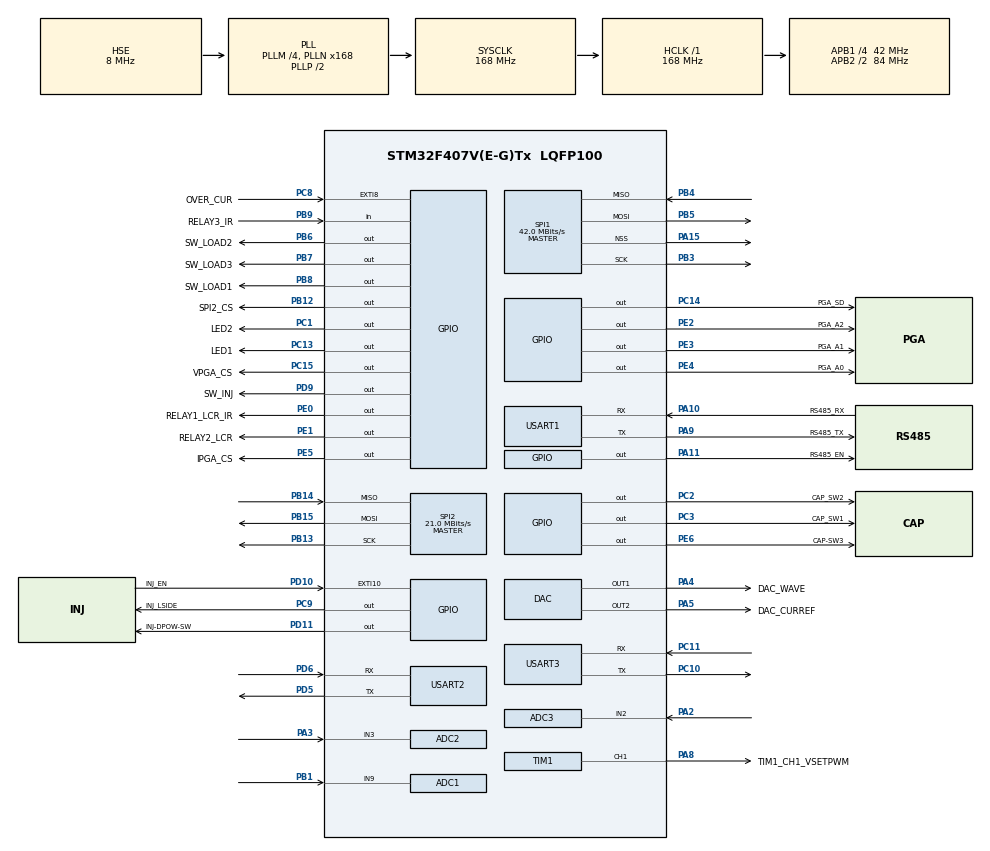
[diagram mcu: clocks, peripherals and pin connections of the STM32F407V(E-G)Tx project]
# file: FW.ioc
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ADC1.Channel-1\#ChannelRegularConversion=ADC_CHANNEL_9
ADC1.ClockPrescaler=ADC_CLOCK_SYNC_PCLK_DIV6
ADC1.NbrOfConversionFlag=1
ADC1.Rank-1\#ChannelRegularConversion=1
ADC1.SamplingTime-1\#ChannelRegularConversion=ADC_SAMPLETIME_3CYCLES
ADC1.master=1
ADC2.Channel-0\#ChannelRegularConversion=ADC_CHANNEL_3
ADC2.ClockPrescaler=ADC_CLOCK_SYNC_PCLK_DIV6
ADC2.ExternalTrigConv=ADC_EXTERNALTRIGCONV_T2_TRGO
ADC2.NbrOfConversionFlag=1
ADC2.Rank-0\#ChannelRegularConversion=1
ADC2.SamplingTime-0\#ChannelRegularConversion=ADC_SAMPLETIME_15CYCLES
ADC3.Channel-1\#ChannelRegularConversion=ADC_CHANNEL_2
ADC3.ClockPrescaler=ADC_CLOCK_SYNC_PCLK_DIV6
ADC3.ExternalTrigConv=ADC_EXTERNALTRIGCONV_T2_TRGO
ADC3.NbrOfConversionFlag=1
ADC3.Rank-1\#ChannelRegularConversion=1
ADC3.SamplingTime-1\#ChannelRegularConversion=ADC_SAMPLETIME_3CYCLES
DAC.DAC_OutputBuffer2=DAC_OUTPUTBUFFER_DISABLE
DAC.DAC_Trigger=DAC_TRIGGER_T7_TRGO
DAC.DAC_Trigger2=DAC_TRIGGER_NONE
Dma.ADC2.2.Direction=DMA_PERIPH_TO_MEMORY
Dma.ADC2.2.FIFOMode=DMA_FIFOMODE_DISABLE
Dma.ADC2.2.Instance=DMA2_Stream2
Dma.ADC2.2.MemDataAlignment=DMA_MDATAALIGN_HALFWORD
Dma.ADC2.2.MemInc=DMA_MINC_ENABLE
Dma.ADC2.2.Mode=DMA_NORMAL
Dma.ADC2.2.PeriphDataAlignment=DMA_PDATAALIGN_HALFWORD
Dma.ADC2.2.PeriphInc=DMA_PINC_DISABLE
Dma.ADC2.2.Priority=DMA_PRIORITY_HIGH
Dma.ADC3.1.Direction=DMA_PERIPH_TO_MEMORY
Dma.ADC3.1.FIFOMode=DMA_FIFOMODE_DISABLE
Dma.ADC3.1.Instance=DMA2_Stream0
Dma.ADC3.1.MemDataAlignment=DMA_MDATAALIGN_HALFWORD
Dma.ADC3.1.MemInc=DMA_MINC_ENABLE
Dma.ADC3.1.Mode=DMA_NORMAL
Dma.ADC3.1.PeriphDataAlignment=DMA_PDATAALIGN_HALFWORD
Dma.ADC3.1.PeriphInc=DMA_PINC_DISABLE
Dma.ADC3.1.Priority=DMA_PRIORITY_HIGH
Dma.DAC1.0.Direction=DMA_MEMORY_TO_PERIPH
Dma.DAC1.0.FIFOMode=DMA_FIFOMODE_DISABLE
Dma.DAC1.0.Instance=DMA1_Stream5
Dma.DAC1.0.MemDataAlignment=DMA_MDATAALIGN_WORD
Dma.DAC1.0.MemInc=DMA_MINC_ENABLE
Dma.DAC1.0.Mode=DMA_CIRCULAR
Dma.DAC1.0.PeriphDataAlignment=DMA_PDATAALIGN_WORD
Dma.DAC1.0.PeriphInc=DMA_PINC_DISABLE
Dma.DAC1.0.Priority=DMA_PRIORITY_LOW
Dma.Request0=DAC1
Dma.Request1=ADC3
Dma.Request2=ADC2
Dma.Request3=USART1_RX
Dma.Request4=USART1_TX
Dma.USART1_RX.3.Direction=DMA_PERIPH_TO_MEMORY
Dma.USART1_RX.3.FIFOMode=DMA_FIFOMODE_DISABLE
Dma.USART1_RX.3.Instance=DMA2_Stream5
Dma.USART1_RX.3.MemDataAlignment=DMA_MDATAALIGN_BYTE
Dma.USART1_RX.3.MemInc=DMA_MINC_ENABLE
Dma.USART1_RX.3.Mode=DMA_NORMAL
Dma.USART1_RX.3.PeriphDataAlignment=DMA_PDATAALIGN_BYTE
Dma.USART1_RX.3.PeriphInc=DMA_PINC_DISABLE
Dma.USART1_RX.3.Priority=DMA_PRIORITY_LOW
Dma.USART1_TX.4.Direction=DMA_MEMORY_TO_PERIPH
Dma.USART1_TX.4.FIFOMode=DMA_FIFOMODE_DISABLE
Dma.USART1_TX.4.Instance=DMA2_Stream7
Dma.USART1_TX.4.MemDataAlignment=DMA_MDATAALIGN_BYTE
Dma.USART1_TX.4.MemInc=DMA_MINC_ENABLE
Dma.USART1_TX.4.Mode=DMA_NORMAL
Dma.USART1_TX.4.PeriphDataAlignment=DMA_PDATAALIGN_BYTE
Dma.USART1_TX.4.PeriphInc=DMA_PINC_DISABLE
Dma.USART1_TX.4.Priority=DMA_PRIORITY_LOW
FREERTOS.Tasks01=defaultTask,24,128,StartDefaultTask,Default,NULL,Dynamic,NULL,NULL
FREERTOS.configENABLE_FPU=1
Mcu.Family=STM32F4
Mcu.Name=STM32F407V(E-G)Tx
Mcu.Package=LQFP100
NVIC.DMA1_Stream5_IRQn=true\:5\:0\:false\:false\:true\:true\:false\:true\:true
NVIC.DMA2_Stream0_IRQn=true\:5\:0\:false\:false\:true\:true\:false\:true\:true
NVIC.DMA2_Stream2_IRQn=true\:5\:0\:false\:false\:true\:true\:false\:true\:true
NVIC.DMA2_Stream5_IRQn=true\:5\:0\:false\:false\:true\:true\:false\:true\:true
NVIC.DMA2_Stream7_IRQn=true\:5\:0\:false\:false\:true\:true\:false\:true\:true
NVIC.PriorityGroup=NVIC_PRIORITYGROUP_4
NVIC.TIM4_IRQn=true\:15\:0\:false\:false\:true\:false\:false\:true\:true
NVIC.TIM8_TRG_COM_TIM14_IRQn=true\:15\:0\:true\:false\:true\:true\:true\:true\:true
NVIC.TimeBase=TIM4_IRQn
NVIC.TimeBaseIP=TIM4
NVIC.USART1_IRQn=true\:5\:0\:false\:false\:true\:true\:true\:true\:true
PA10.GPIO_Label=RS485_RX
PA10.Mode=Asynchronous
PA10.Signal=USART1_RX
PA11.GPIO_Label=RS485_EN
PA11.Signal=GPIO_Output
PA13.Mode=Serial_Wire
PA13.Signal=SYS_JTMS-SWDIO
PA14.Mode=Serial_Wire
PA14.Signal=SYS_JTCK-SWCLK
PA15.Mode=NSS_Signal_Hard_Output
PA15.Signal=SPI1_NSS
PA2.Signal=ADCx_IN2
PA3.Signal=ADCx_IN3
PA4.GPIO_Label=DAC_WAVE
PA4.Signal=COMP_DAC1_group
PA5.GPIO_Label=DAC_CURREF
PA5.Signal=COMP_DAC2_group
PA7.GPIO_Label=ADC2_IN7_LCUR2
PA7.Signal=ADCx_IN7
PA8.GPIO_Label=TIM1_CH1_VSETPWM
PA8.Signal=S_TIM1_CH1
PA9.GPIO_Label=RS485_TX
PA9.Mode=Asynchronous
PA9.Signal=USART1_TX
PB0.GPIO_Label=ADC2_IN8_INJPV
PB0.Signal=ADCx_IN8
PB1.Signal=ADCx_IN9
PB12.GPIO_Label=SPI2_CS
PB12.Signal=GPIO_Output
PB13.Mode=Full_Duplex_Master
PB13.Signal=SPI2_SCK
PB14.Mode=Full_Duplex_Master
PB14.Signal=SPI2_MISO
PB15.Mode=Full_Duplex_Master
PB15.Signal=SPI2_MOSI
PB3.Mode=Full_Duplex_Master
PB3.Signal=SPI1_SCK
PB4.Mode=Full_Duplex_Master
PB4.Signal=SPI1_MISO
PB5.Mode=Full_Duplex_Master
PB5.Signal=SPI1_MOSI
PB6.GPIO_Label=SW_LOAD2
PB6.Signal=GPIO_Output
PB7.GPIO_Label=SW_LOAD3
PB7.Signal=GPIO_Output
PB8.GPIO_Label=SW_LOAD1
PB8.Signal=GPIO_Output
PB9.GPIO_Label=RELAY3_IR
PB9.Signal=GPIO_Input
PC1.GPIO_Label=LED2
PC1.Signal=GPIO_Output
PC10.Mode=Asynchronous
PC10.Signal=USART3_TX
PC11.Mode=Asynchronous
PC11.Signal=USART3_RX
PC13-ANTI_TAMP.GPIO_Label=LED1
PC13-ANTI_TAMP.Signal=GPIO_Output
PC14-OSC32_IN.GPIO_Label=PGA_SD
PC14-OSC32_IN.Signal=GPIO_Output
PC15-OSC32_OUT.GPIO_Label=VPGA_CS
PC15-OSC32_OUT.Signal=GPIO_Output
PC2.GPIO_Label=CAP_SW2
PC2.Signal=GPIO_Output
PC3.GPIO_Label=CAP_SW1
PC3.Signal=GPIO_Output
PC4.GPIO_Label=ADC2_IN14_LCUR1
PC4.Signal=ADCx_IN14
PC5.GPIO_Label=ADC2_IN15_HCUR
PC5.Signal=ADCx_IN15
PC6.GPIO_Label=TIM8_CH1_SET
PC6.Signal=S_TIM8_CH1
PC7.GPIO_Label=TIM8_CH2_HOLD
PC7.Signal=S_TIM8_CH2
PC8.GPIO_Label=OVER_CUR
PC8.Signal=GPXTI8
PC9.GPIO_Label=INJ_LSIDE
PC9.Signal=GPIO_Output
PD10.GPIO_Label=INJ_EN
PD10.Signal=GPXTI10
PD11.GPIO_Label=INJ-DPOW-SW
PD11.Signal=GPIO_Output
PD5.Mode=Asynchronous
PD5.Signal=USART2_TX
PD6.Mode=Asynchronous
PD6.Signal=USART2_RX
PD9.GPIO_Label=SW_INJ
PD9.Signal=GPIO_Output
PE0.GPIO_Label=RELAY1_LCR_IR
PE0.Signal=GPIO_Output
PE1.GPIO_Label=RELAY2_LCR
PE1.Signal=GPIO_Output
PE2.GPIO_Label=PGA_A2
PE2.Signal=GPIO_Output
PE3.GPIO_Label=PGA_A1
PE3.Signal=GPIO_Output
PE4.GPIO_Label=PGA_A0
PE4.Signal=GPIO_Output
PE5.GPIO_Label=IPGA_CS
PE5.Signal=GPIO_Output
PE6.GPIO_Label=CAP-SW3
PE6.Signal=GPIO_Output
PH0-OSC_IN.Mode=HSE-External-Oscillator
PH0-OSC_IN.Signal=RCC_OSC_IN
PH1-OSC_OUT.Mode=HSE-External-Oscillator
PH1-OSC_OUT.Signal=RCC_OSC_OUT
ProjectManager.HeapSize=0x200
ProjectManager.StackSize=0x400
ProjectManager.TargetToolchain=MDK-ARM V5.32
RCC.48MHZClocksFreq_Value=84000000
RCC.AHBFreq_Value=168000000
RCC.APB1CLKDivider=RCC_HCLK_DIV4
RCC.APB1Freq_Value=42000000
RCC.APB1TimFreq_Value=84000000
RCC.APB2CLKDivider=RCC_HCLK_DIV2
RCC.APB2Freq_Value=84000000
RCC.APB2TimFreq_Value=168000000
RCC.CortexFreq_Value=168000000
RCC.HCLKFreq_Value=168000000
RCC.HSE_VALUE=8000000
RCC.HSI_VALUE=16000000
RCC.LSE_VALUE=32768
RCC.PLLM=4
RCC.PLLN=168
RCC.PLLSourceVirtual=RCC_PLLSOURCE_HSE
RCC.SYSCLKFreq_VALUE=168000000
RCC.SYSCLKSource=RCC_SYSCLKSOURCE_PLLCLK
RCC.VCOOutputFreq_Value=336000000
SH.ADCx_IN14.0=ADC2_IN14
SH.ADCx_IN15.0=ADC2_IN15
SH.ADCx_IN2.0=ADC1_IN2
SH.ADCx_IN2.1=ADC3_IN2,IN2
SH.ADCx_IN3.0=ADC3_IN3
SH.ADCx_IN3.1=ADC2_IN3,IN3
SH.ADCx_IN7.0=ADC2_IN7
SH.ADCx_IN8.0=ADC2_IN8
SH.ADCx_IN9.0=ADC2_IN9
SH.ADCx_IN9.1=ADC1_IN9,IN9
SH.COMP_DAC1_group.0=DAC_OUT1,DAC_OUT1
SH.COMP_DAC2_group.0=DAC_OUT2,DAC_OUT2
SH.S_TIM1_CH1.0=TIM1_CH1,PWM Generation1 CH1
SH.S_TIM8_CH1.0=TIM8_CH1
SH.S_TIM8_CH2.0=TIM8_CH2
SPI1.BaudRatePrescaler=SPI_BAUDRATEPRESCALER_2
SPI1.CalculateBaudRate=42.0 MBits/s
SPI1.Direction=SPI_DIRECTION_2LINES
SPI1.Mode=SPI_MODE_MASTER
SPI1.VirtualNSS=VM_NSSHARD
SPI1.VirtualType=VM_MASTER
SPI2.BaudRatePrescaler=SPI_BAUDRATEPRESCALER_2
SPI2.CalculateBaudRate=21.0 MBits/s
SPI2.Direction=SPI_DIRECTION_2LINES
SPI2.Mode=SPI_MODE_MASTER
SPI2.VirtualType=VM_MASTER
STMicroelectronics.X-CUBE-ALGOBUILD.1.4.0.LibraryCcDSPOoLibraryJjDSPOoLibrary=true
TIM1.Channel-PWM\ Generation1\ CH1=TIM_CHANNEL_1
TIM1.Period=260
TIM12.Channel-Output\ Compare1\ No\ Output=TIM_CHANNEL_1
TIM12.Channel-Output\ Compare2\ No\ Output=TIM_CHANNEL_2
TIM13.Channel=TIM_CHANNEL_1
TIM14.AutoReloadPreload=TIM_AUTORELOAD_PRELOAD_ENABLE
TIM2.Period=167999
TIM2.Prescaler=0
TIM2.TIM_MasterOutputTrigger=TIM_TRGO_UPDATE
TIM5.Channel-Output\ Compare1\ No\ Output=TIM_CHANNEL_1
TIM7.TIM_MasterOutputTrigger=TIM_TRGO_UPDATE
TIM8.Channel-Output\ Compare1\ No\ Output=TIM_CHANNEL_1
TIM9.Channel-Output\ Compare1\ No\ Output=TIM_CHANNEL_1
USART1.VirtualMode=VM_ASYNC
USART2.VirtualMode=VM_ASYNC
USART3.VirtualMode=VM_ASYNC
VP_FREERTOS_VS_CMSIS_V2.Mode=CMSIS_V2
VP_STMicroelectronics.X-CUBE-ALGOBUILD_VS_DSPOoLibraryJjLibrary_1.4.0_1.4.0.Mode=DSPOoLibraryJjLibrary
VP_SYS_VS_tim4.Mode=TIM4
VP_TIM10_VS_ClockSourceINT.Mode=Enable_Timer
VP_TIM11_VS_ClockSourceINT.Mode=Enable_Timer
VP_TIM12_VS_no_output1.Mode=Output Compare1 No Output
VP_TIM12_VS_no_output2.Mode=Output Compare2 No Output
VP_TIM13_VS_ClockSourceINT.Mode=Enable_Timer
VP_TIM13_VS_no_output1.Mode=Output Compare1 No Output
VP_TIM14_VS_ClockSourceINT.Mode=Enable_Timer
VP_TIM2_VS_ClockSourceINT.Mode=Internal
VP_TIM5_VS_no_output1.Mode=Output Compare1 No Output
VP_TIM6_VS_ClockSourceINT.Mode=Enable_Timer
VP_TIM7_VS_ClockSourceINT.Mode=Enable_Timer
VP_TIM8_VS_no_output1.Mode=Output Compare1 No Output
VP_TIM9_VS_no_output1.Mode=Output Compare1 No Output
board=custom

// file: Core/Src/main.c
/* USER CODE BEGIN Header */
/**
  ******************************************************************************
  * @file           : main.c
  * @brief          : Main program body
  ******************************************************************************
  * @attention
  *
  * Copyright (c) 2025 STMicroelectronics.
  * All rights reserved.
  *
  * This software is licensed under terms that can be found in the LICENSE file
  * in the root directory of this software component.
  * If no LICENSE file comes with this software, it is provided AS-IS.
  *
  ******************************************************************************
  */
/* USER CODE END Header */
#include "main.h"
#include "cmsis_os.h"

/* USER CODE BEGIN Includes */
#include "arm_math.h"
#include "boost_adc.h"
#include "timer.h"
#include "pwm.h"
#include "pid.h"
#include "io_control.h"
#include "dac.h"
#include "stm32f4xx.h"
/* USER CODE END Includes */

ADC_HandleTypeDef hadc1;
ADC_HandleTypeDef hadc2;
ADC_HandleTypeDef hadc3;
DMA_HandleTypeDef hdma_adc2;
DMA_HandleTypeDef hdma_adc3;

DAC_HandleTypeDef hdac;
DMA_HandleTypeDef hdma_dac1;

SPI_HandleTypeDef hspi1;
SPI_HandleTypeDef hspi2;

TIM_HandleTypeDef htim1;
TIM_HandleTypeDef htim2;
TIM_HandleTypeDef htim5;
TIM_HandleTypeDef htim6;
TIM_HandleTypeDef htim7;
TIM_HandleTypeDef htim8;
TIM_HandleTypeDef htim9;
TIM_HandleTypeDef htim10;
TIM_HandleTypeDef htim11;
TIM_HandleTypeDef htim12;
TIM_HandleTypeDef htim13;
TIM_HandleTypeDef htim14;

UART_HandleTypeDef huart1;
UART_HandleTypeDef huart2;
UART_HandleTypeDef huart3;
DMA_HandleTypeDef hdma_usart1_rx;
DMA_HandleTypeDef hdma_usart1_tx;

/* Definitions for defaultTask */
osThreadId_t defaultTaskHandle;
const osThreadAttr_t defaultTask_attributes = {
  .name = "defaultTask",
  .stack_size = 128 * 4,
  .priority = (osPriority_t) osPriorityNormal,
};

void SystemClock_Config(void);
static void MX_GPIO_Init(void);
static void MX_DMA_Init(void);
static void MX_DAC_Init(void);
static void MX_ADC1_Init(void);
static void MX_ADC2_Init(void);
static void MX_SPI2_Init(void);
static void MX_TIM6_Init(void);
static void MX_USART1_UART_Init(void);
static void MX_USART2_UART_Init(void);
static void MX_USART3_UART_Init(void);
static void MX_TIM10_Init(void);
static void MX_TIM11_Init(void);
static void MX_SPI1_Init(void);
static void MX_TIM2_Init(void);
static void MX_TIM5_Init(void);
static void MX_TIM7_Init(void);
static void MX_TIM8_Init(void);
static void MX_TIM12_Init(void);
static void MX_TIM13_Init(void);
static void MX_TIM14_Init(void);
static void MX_TIM1_Init(void);
static void MX_TIM9_Init(void);
static void MX_ADC3_Init(void);
void StartDefaultTask(void *argument);

int main(void)
{

  /* MCU Configuration--------------------------------------------------------*/

  /* Reset of all peripherals, Initializes the Flash interface and the Systick. */
  HAL_Init();

  /* Configure the system clock */
  SystemClock_Config();

  /* USER CODE BEGIN SysInit */

  // 在调试暂停时冻结 TIM1
  HAL_DBGMCU_EnableDBGSleepMode();     // 可选：如果需要在 Sleep 模式下调试
  HAL_DBGMCU_EnableDBGStopMode();      // 可选：如果需要在 Stop 模式下调试
  HAL_DBGMCU_EnableDBGStandbyMode();   // 可选：如果需要在 Standby 模式下调试

	// *** 关键步骤：冻结 APB2 外设中的 TIM1 ***
  DBGMCU->APB2FZ |= DBGMCU_APB2_FZ_DBG_TIM1_STOP;
  /* USER CODE END SysInit */

  /* Initialize all configured peripherals */
  MX_GPIO_Init();
  MX_DMA_Init();
  MX_DAC_Init();
  MX_ADC1_Init();
  MX_ADC2_Init();
  MX_SPI2_Init();
  MX_TIM6_Init();
  MX_USART1_UART_Init();
  MX_USART2_UART_Init();
  MX_USART3_UART_Init();
  MX_TIM10_Init();
  MX_TIM11_Init();
  MX_SPI1_Init();
  MX_TIM2_Init();
  MX_TIM5_Init();
  MX_TIM7_Init();
  MX_TIM8_Init();
  MX_TIM12_Init();
  MX_TIM13_Init();
  MX_TIM14_Init();
  MX_TIM1_Init();
  MX_TIM9_Init();
  MX_ADC3_Init();
  /* USER CODE BEGIN 2 */
	PWM_Init();
	Boost_ADC_Init();
	TIMER_Init();

	PID_Init(0.35, 0.004, 0.05); //PID参数初始化
	PWM_Enable();
	IO_Control_Init();
	Init_DAC();

  /* USER CODE END 2 */

  /* Init scheduler */
  osKernelInitialize();

  /* Create the thread(s) */
  /* creation of defaultTask */
  defaultTaskHandle = osThreadNew(StartDefaultTask, NULL, &defaultTask_attributes);

  /* Start scheduler */
  osKernelStart();

  /* We should never get here as control is now taken by the scheduler */

  /* Infinite loop */
  while (1)
  {

    /* USER CODE BEGIN 3 */
		BaseTimerProcess();
  }
  /* USER CODE END 3 */
}

void SystemClock_Config(void)
{
  RCC_OscInitTypeDef RCC_OscInitStruct = {0};
  RCC_ClkInitTypeDef RCC_ClkInitStruct = {0};

  /** Configure the main internal regulator output voltage
  */
  __HAL_RCC_PWR_CLK_ENABLE();
  __HAL_PWR_VOLTAGESCALING_CONFIG(PWR_REGULATOR_VOLTAGE_SCALE1);

  /** Initializes the RCC Oscillators according to the specified parameters
  * in the RCC_OscInitTypeDef structure.
  */
  RCC_OscInitStruct.OscillatorType = RCC_OSCILLATORTYPE_HSE;
  RCC_OscInitStruct.HSEState = RCC_HSE_ON;
  RCC_OscInitStruct.PLL.PLLState = RCC_PLL_ON;
  RCC_OscInitStruct.PLL.PLLSource = RCC_PLLSOURCE_HSE;
  RCC_OscInitStruct.PLL.PLLM = 4;
  RCC_OscInitStruct.PLL.PLLN = 168;
  RCC_OscInitStruct.PLL.PLLP = RCC_PLLP_DIV2;
  RCC_OscInitStruct.PLL.PLLQ = 4;
  if (HAL_RCC_OscConfig(&RCC_OscInitStruct) != HAL_OK)
  {
    Error_Handler();
  }

  /** Initializes the CPU, AHB and APB buses clocks
  */
  RCC_ClkInitStruct.ClockType = RCC_CLOCKTYPE_HCLK|RCC_CLOCKTYPE_SYSCLK
                              |RCC_CLOCKTYPE_PCLK1|RCC_CLOCKTYPE_PCLK2;
  RCC_ClkInitStruct.SYSCLKSource = RCC_SYSCLKSOURCE_PLLCLK;
  RCC_ClkInitStruct.AHBCLKDivider = RCC_SYSCLK_DIV1;
  RCC_ClkInitStruct.APB1CLKDivider = RCC_HCLK_DIV4;
  RCC_ClkInitStruct.APB2CLKDivider = RCC_HCLK_DIV2;

  if (HAL_RCC_ClockConfig(&RCC_ClkInitStruct, FLASH_LATENCY_5) != HAL_OK)
  {
    Error_Handler();
  }
}

static void MX_ADC1_Init(void)
{

  ADC_ChannelConfTypeDef sConfig = {0};

  /** Configure the global features of the ADC (Clock, Resolution, Data Alignment and number of conversion)
  */
  hadc1.Instance = ADC1;
  hadc1.Init.ClockPrescaler = ADC_CLOCK_SYNC_PCLK_DIV6;
  hadc1.Init.Resolution = ADC_RESOLUTION_12B;
  hadc1.Init.ScanConvMode = DISABLE;
  hadc1.Init.ContinuousConvMode = DISABLE;
  hadc1.Init.DiscontinuousConvMode = DISABLE;
  hadc1.Init.ExternalTrigConvEdge = ADC_EXTERNALTRIGCONVEDGE_NONE;
  hadc1.Init.ExternalTrigConv = ADC_SOFTWARE_START;
  hadc1.Init.DataAlign = ADC_DATAALIGN_RIGHT;
  hadc1.Init.NbrOfConversion = 1;
  hadc1.Init.DMAContinuousRequests = DISABLE;
  hadc1.Init.EOCSelection = ADC_EOC_SINGLE_CONV;
  if (HAL_ADC_Init(&hadc1) != HAL_OK)
  {
    Error_Handler();
  }

  /** Configure for the selected ADC regular channel its corresponding rank in the sequencer and its sample time.
  */
  sConfig.Channel = ADC_CHANNEL_9;
  sConfig.Rank = 1;
  sConfig.SamplingTime = ADC_SAMPLETIME_3CYCLES;
  if (HAL_ADC_ConfigChannel(&hadc1, &sConfig) != HAL_OK)
  {
    Error_Handler();
  }

}

static void MX_ADC2_Init(void)
{

  ADC_ChannelConfTypeDef sConfig = {0};

  /** Configure the global features of the ADC (Clock, Resolution, Data Alignment and number of conversion)
  */
  hadc2.Instance = ADC2;
  hadc2.Init.ClockPrescaler = ADC_CLOCK_SYNC_PCLK_DIV6;
  hadc2.Init.Resolution = ADC_RESOLUTION_12B;
  hadc2.Init.ScanConvMode = DISABLE;
  hadc2.Init.ContinuousConvMode = DISABLE;
  hadc2.Init.DiscontinuousConvMode = DISABLE;
  hadc2.Init.ExternalTrigConvEdge = ADC_EXTERNALTRIGCONVEDGE_RISING;
  hadc2.Init.ExternalTrigConv = ADC_EXTERNALTRIGCONV_T2_TRGO;
  hadc2.Init.DataAlign = ADC_DATAALIGN_RIGHT;
  hadc2.Init.NbrOfConversion = 1;
  hadc2.Init.DMAContinuousRequests = DISABLE;
  hadc2.Init.EOCSelection = ADC_EOC_SINGLE_CONV;
  if (HAL_ADC_Init(&hadc2) != HAL_OK)
  {
    Error_Handler();
  }

  /** Configure for the selected ADC regular channel its corresponding rank in the sequencer and its sample time.
  */
  sConfig.Channel = ADC_CHANNEL_3;
  sConfig.Rank = 1;
  sConfig.SamplingTime = ADC_SAMPLETIME_15CYCLES;
  if (HAL_ADC_ConfigChannel(&hadc2, &sConfig) != HAL_OK)
  {
    Error_Handler();
  }

}

static void MX_ADC3_Init(void)
{

  ADC_ChannelConfTypeDef sConfig = {0};

  /** Configure the global features of the ADC (Clock, Resolution, Data Alignment and number of conversion)
  */
  hadc3.Instance = ADC3;
  hadc3.Init.ClockPrescaler = ADC_CLOCK_SYNC_PCLK_DIV6;
  hadc3.Init.Resolution = ADC_RESOLUTION_12B;
  hadc3.Init.ScanConvMode = DISABLE;
  hadc3.Init.ContinuousConvMode = DISABLE;
  hadc3.Init.DiscontinuousConvMode = DISABLE;
  hadc3.Init.ExternalTrigConvEdge = ADC_EXTERNALTRIGCONVEDGE_RISING;
  hadc3.Init.ExternalTrigConv = ADC_EXTERNALTRIGCONV_T2_TRGO;
  hadc3.Init.DataAlign = ADC_DATAALIGN_RIGHT;
  hadc3.Init.NbrOfConversion = 1;
  hadc3.Init.DMAContinuousRequests = DISABLE;
  hadc3.Init.EOCSelection = ADC_EOC_SINGLE_CONV;
  if (HAL_ADC_Init(&hadc3) != HAL_OK)
  {
    Error_Handler();
  }

  /** Configure for the selected ADC regular channel its corresponding rank in the sequencer and its sample time.
  */
  sConfig.Channel = ADC_CHANNEL_2;
  sConfig.Rank = 1;
  sConfig.SamplingTime = ADC_SAMPLETIME_3CYCLES;
  if (HAL_ADC_ConfigChannel(&hadc3, &sConfig) != HAL_OK)
  {
    Error_Handler();
  }

}

static void MX_DAC_Init(void)
{

  DAC_ChannelConfTypeDef sConfig = {0};

  /** DAC Initialization
  */
  hdac.Instance = DAC;
  if (HAL_DAC_Init(&hdac) != HAL_OK)
  {
    Error_Handler();
  }

  /** DAC channel OUT1 config
  */
  sConfig.DAC_Trigger = DAC_TRIGGER_T7_TRGO;
  sConfig.DAC_OutputBuffer = DAC_OUTPUTBUFFER_ENABLE;
  if (HAL_DAC_ConfigChannel(&hdac, &sConfig, DAC_CHANNEL_1) != HAL_OK)
  {
    Error_Handler();
  }

  /** DAC channel OUT2 config
  */
  sConfig.DAC_Trigger = DAC_TRIGGER_NONE;
  sConfig.DAC_OutputBuffer = DAC_OUTPUTBUFFER_DISABLE;
  if (HAL_DAC_ConfigChannel(&hdac, &sConfig, DAC_CHANNEL_2) != HAL_OK)
  {
    Error_Handler();
  }

}

static void MX_SPI1_Init(void)
{

  /* SPI1 parameter configuration*/
  hspi1.Instance = SPI1;
  hspi1.Init.Mode = SPI_MODE_MASTER;
  hspi1.Init.Direction = SPI_DIRECTION_2LINES;
  hspi1.Init.DataSize = SPI_DATASIZE_8BIT;
  hspi1.Init.CLKPolarity = SPI_POLARITY_LOW;
  hspi1.Init.CLKPhase = SPI_PHASE_1EDGE;
  hspi1.Init.NSS = SPI_NSS_HARD_OUTPUT;
  hspi1.Init.BaudRatePrescaler = SPI_BAUDRATEPRESCALER_2;
  hspi1.Init.FirstBit = SPI_FIRSTBIT_MSB;
  hspi1.Init.TIMode = SPI_TIMODE_DISABLE;
  hspi1.Init.CRCCalculation = SPI_CRCCALCULATION_DISABLE;
  hspi1.Init.CRCPolynomial = 10;
  if (HAL_SPI_Init(&hspi1) != HAL_OK)
  {
    Error_Handler();
  }

}

static void MX_SPI2_Init(void)
{

  /* SPI2 parameter configuration*/
  hspi2.Instance = SPI2;
  hspi2.Init.Mode = SPI_MODE_MASTER;
  hspi2.Init.Direction = SPI_DIRECTION_2LINES;
  hspi2.Init.DataSize = SPI_DATASIZE_8BIT;
  hspi2.Init.CLKPolarity = SPI_POLARITY_LOW;
  hspi2.Init.CLKPhase = SPI_PHASE_1EDGE;
  hspi2.Init.NSS = SPI_NSS_SOFT;
  hspi2.Init.BaudRatePrescaler = SPI_BAUDRATEPRESCALER_2;
  hspi2.Init.FirstBit = SPI_FIRSTBIT_MSB;
  hspi2.Init.TIMode = SPI_TIMODE_DISABLE;
  hspi2.Init.CRCCalculation = SPI_CRCCALCULATION_DISABLE;
  hspi2.Init.CRCPolynomial = 10;
  if (HAL_SPI_Init(&hspi2) != HAL_OK)
  {
    Error_Handler();
  }

}

static void MX_TIM1_Init(void)
{

  TIM_MasterConfigTypeDef sMasterConfig = {0};
  TIM_OC_InitTypeDef sConfigOC = {0};
  TIM_BreakDeadTimeConfigTypeDef sBreakDeadTimeConfig = {0};

  htim1.Instance = TIM1;
  htim1.Init.Prescaler = 0;
  htim1.Init.CounterMode = TIM_COUNTERMODE_UP;
  htim1.Init.Period = 260;
  htim1.Init.ClockDivision = TIM_CLOCKDIVISION_DIV1;
  htim1.Init.RepetitionCounter = 0;
  htim1.Init.AutoReloadPreload = TIM_AUTORELOAD_PRELOAD_DISABLE;
  if (HAL_TIM_PWM_Init(&htim1) != HAL_OK)
  {
    Error_Handler();
  }
  sMasterConfig.MasterOutputTrigger = TIM_TRGO_RESET;
  sMasterConfig.MasterSlaveMode = TIM_MASTERSLAVEMODE_DISABLE;
  if (HAL_TIMEx_MasterConfigSynchronization(&htim1, &sMasterConfig) != HAL_OK)
  {
    Error_Handler();
  }
  sConfigOC.OCMode = TIM_OCMODE_PWM1;
  sConfigOC.Pulse = 0;
  sConfigOC.OCPolarity = TIM_OCPOLARITY_HIGH;
  sConfigOC.OCNPolarity = TIM_OCNPOLARITY_HIGH;
  sConfigOC.OCFastMode = TIM_OCFAST_DISABLE;
  sConfigOC.OCIdleState = TIM_OCIDLESTATE_RESET;
  sConfigOC.OCNIdleState = TIM_OCNIDLESTATE_RESET;
  if (HAL_TIM_PWM_ConfigChannel(&htim1, &sConfigOC, TIM_CHANNEL_1) != HAL_OK)
  {
    Error_Handler();
  }
  sBreakDeadTimeConfig.OffStateRunMode = TIM_OSSR_DISABLE;
  sBreakDeadTimeConfig.OffStateIDLEMode = TIM_OSSI_DISABLE;
  sBreakDeadTimeConfig.LockLevel = TIM_LOCKLEVEL_OFF;
  sBreakDeadTimeConfig.DeadTime = 0;
  sBreakDeadTimeConfig.BreakState = TIM_BREAK_DISABLE;
  sBreakDeadTimeConfig.BreakPolarity = TIM_BREAKPOLARITY_HIGH;
  sBreakDeadTimeConfig.AutomaticOutput = TIM_AUTOMATICOUTPUT_DISABLE;
  if (HAL_TIMEx_ConfigBreakDeadTime(&htim1, &sBreakDeadTimeConfig) != HAL_OK)
  {
    Error_Handler();
  }
  HAL_TIM_MspPostInit(&htim1);

}

static void MX_TIM2_Init(void)
{

  TIM_ClockConfigTypeDef sClockSourceConfig = {0};
  TIM_MasterConfigTypeDef sMasterConfig = {0};

  htim2.Instance = TIM2;
  htim2.Init.Prescaler = 0;
  htim2.Init.CounterMode = TIM_COUNTERMODE_UP;
  htim2.Init.Period = 167999;
  htim2.Init.ClockDivision = TIM_CLOCKDIVISION_DIV1;
  htim2.Init.AutoReloadPreload = TIM_AUTORELOAD_PRELOAD_DISABLE;
  if (HAL_TIM_Base_Init(&htim2) != HAL_OK)
  {
    Error_Handler();
  }
  sClockSourceConfig.ClockSource = TIM_CLOCKSOURCE_INTERNAL;
  if (HAL_TIM_ConfigClockSource(&htim2, &sClockSourceConfig) != HAL_OK)
  {
    Error_Handler();
  }
  sMasterConfig.MasterOutputTrigger = TIM_TRGO_UPDATE;
  sMasterConfig.MasterSlaveMode = TIM_MASTERSLAVEMODE_DISABLE;
  if (HAL_TIMEx_MasterConfigSynchronization(&htim2, &sMasterConfig) != HAL_OK)
  {
    Error_Handler();
  }

}

static void MX_TIM5_Init(void)
{

  TIM_MasterConfigTypeDef sMasterConfig = {0};
  TIM_OC_InitTypeDef sConfigOC = {0};

  htim5.Instance = TIM5;
  htim5.Init.Prescaler = 0;
  htim5.Init.CounterMode = TIM_COUNTERMODE_UP;
  htim5.Init.Period = 4294967295;
  htim5.Init.ClockDivision = TIM_CLOCKDIVISION_DIV1;
  htim5.Init.AutoReloadPreload = TIM_AUTORELOAD_PRELOAD_DISABLE;
  if (HAL_TIM_OC_Init(&htim5) != HAL_OK)
  {
    Error_Handler();
  }
  sMasterConfig.MasterOutputTrigger = TIM_TRGO_RESET;
  sMasterConfig.MasterSlaveMode = TIM_MASTERSLAVEMODE_DISABLE;
  if (HAL_TIMEx_MasterConfigSynchronization(&htim5, &sMasterConfig) != HAL_OK)
  {
    Error_Handler();
  }
  sConfigOC.OCMode = TIM_OCMODE_TIMING;
  sConfigOC.Pulse = 0;
  sConfigOC.OCPolarity = TIM_OCPOLARITY_HIGH;
  sConfigOC.OCFastMode = TIM_OCFAST_DISABLE;
  if (HAL_TIM_OC_ConfigChannel(&htim5, &sConfigOC, TIM_CHANNEL_1) != HAL_OK)
  {
    Error_Handler();
  }

}

static void MX_TIM6_Init(void)
{

  TIM_MasterConfigTypeDef sMasterConfig = {0};

  htim6.Instance = TIM6;
  htim6.Init.Prescaler = 0;
  htim6.Init.CounterMode = TIM_COUNTERMODE_UP;
  htim6.Init.Period = 65535;
  htim6.Init.AutoReloadPreload = TIM_AUTORELOAD_PRELOAD_DISABLE;
  if (HAL_TIM_Base_Init(&htim6) != HAL_OK)
  {
    Error_Handler();
  }
  sMasterConfig.MasterOutputTrigger = TIM_TRGO_RESET;
  sMasterConfig.MasterSlaveMode = TIM_MASTERSLAVEMODE_DISABLE;
  if (HAL_TIMEx_MasterConfigSynchronization(&htim6, &sMasterConfig) != HAL_OK)
  {
    Error_Handler();
  }

}

static void MX_TIM7_Init(void)
{

  TIM_MasterConfigTypeDef sMasterConfig = {0};

  htim7.Instance = TIM7;
  htim7.Init.Prescaler = 0;
  htim7.Init.CounterMode = TIM_COUNTERMODE_UP;
  htim7.Init.Period = 65535;
  htim7.Init.AutoReloadPreload = TIM_AUTORELOAD_PRELOAD_DISABLE;
  if (HAL_TIM_Base_Init(&htim7) != HAL_OK)
  {
    Error_Handler();
  }
  sMasterConfig.MasterOutputTrigger = TIM_TRGO_UPDATE;
  sMasterConfig.MasterSlaveMode = TIM_MASTERSLAVEMODE_DISABLE;
  if (HAL_TIMEx_MasterConfigSynchronization(&htim7, &sMasterConfig) != HAL_OK)
  {
    Error_Handler();
  }

}

static void MX_TIM8_Init(void)
{

  TIM_MasterConfigTypeDef sMasterConfig = {0};
  TIM_OC_InitTypeDef sConfigOC = {0};
  TIM_BreakDeadTimeConfigTypeDef sBreakDeadTimeConfig = {0};

  htim8.Instance = TIM8;
  htim8.Init.Prescaler = 0;
  htim8.Init.CounterMode = TIM_COUNTERMODE_UP;
  htim8.Init.Period = 65535;
  htim8.Init.ClockDivision = TIM_CLOCKDIVISION_DIV1;
  htim8.Init.RepetitionCounter = 0;
  htim8.Init.AutoReloadPreload = TIM_AUTORELOAD_PRELOAD_DISABLE;
  if (HAL_TIM_OC_Init(&htim8) != HAL_OK)
  {
    Error_Handler();
  }
  sMasterConfig.MasterOutputTrigger = TIM_TRGO_RESET;
  sMasterConfig.MasterSlaveMode = TIM_MASTERSLAVEMODE_DISABLE;
  if (HAL_TIMEx_MasterConfigSynchronization(&htim8, &sMasterConfig) != HAL_OK)
  {
    Error_Handler();
  }
  sConfigOC.OCMode = TIM_OCMODE_TIMING;
  sConfigOC.Pulse = 0;
  sConfigOC.OCPolarity = TIM_OCPOLARITY_HIGH;
  sConfigOC.OCNPolarity = TIM_OCNPOLARITY_HIGH;
  sConfigOC.OCFastMode = TIM_OCFAST_DISABLE;
  sConfigOC.OCIdleState = TIM_OCIDLESTATE_RESET;
  sConfigOC.OCNIdleState = TIM_OCNIDLESTATE_RESET;
  if (HAL_TIM_OC_ConfigChannel(&htim8, &sConfigOC, TIM_CHANNEL_1) != HAL_OK)
  {
    Error_Handler();
  }
  sBreakDeadTimeConfig.OffStateRunMode = TIM_OSSR_DISABLE;
  sBreakDeadTimeConfig.OffStateIDLEMode = TIM_OSSI_DISABLE;
  sBreakDeadTimeConfig.LockLevel = TIM_LOCKLEVEL_OFF;
  sBreakDeadTimeConfig.DeadTime = 0;
  sBreakDeadTimeConfig.BreakState = TIM_BREAK_DISABLE;
  sBreakDeadTimeConfig.BreakPolarity = TIM_BREAKPOLARITY_HIGH;
  sBreakDeadTimeConfig.AutomaticOutput = TIM_AUTOMATICOUTPUT_DISABLE;
  if (HAL_TIMEx_ConfigBreakDeadTime(&htim8, &sBreakDeadTimeConfig) != HAL_OK)
  {
    Error_Handler();
  }

}

static void MX_TIM9_Init(void)
{

  TIM_OC_InitTypeDef sConfigOC = {0};

  htim9.Instance = TIM9;
  htim9.Init.Prescaler = 0;
  htim9.Init.CounterMode = TIM_COUNTERMODE_UP;
  htim9.Init.Period = 65535;
  htim9.Init.ClockDivision = TIM_CLOCKDIVISION_DIV1;
  htim9.Init.AutoReloadPreload = TIM_AUTORELOAD_PRELOAD_DISABLE;
  if (HAL_TIM_OC_Init(&htim9) != HAL_OK)
  {
    Error_Handler();
  }
  sConfigOC.OCMode = TIM_OCMODE_TIMING;
  sConfigOC.Pulse = 0;
  sConfigOC.OCPolarity = TIM_OCPOLARITY_HIGH;
  sConfigOC.OCFastMode = TIM_OCFAST_DISABLE;
  if (HAL_TIM_OC_ConfigChannel(&htim9, &sConfigOC, TIM_CHANNEL_1) != HAL_OK)
  {
    Error_Handler();
  }

}

static void MX_TIM10_Init(void)
{

  htim10.Instance = TIM10;
  htim10.Init.Prescaler = 0;
  htim10.Init.CounterMode = TIM_COUNTERMODE_UP;
  htim10.Init.Period = 65535;
  htim10.Init.ClockDivision = TIM_CLOCKDIVISION_DIV1;
  htim10.Init.AutoReloadPreload = TIM_AUTORELOAD_PRELOAD_DISABLE;
  if (HAL_TIM_Base_Init(&htim10) != HAL_OK)
  {
    Error_Handler();
  }

}

static void MX_TIM11_Init(void)
{

  htim11.Instance = TIM11;
  htim11.Init.Prescaler = 0;
  htim11.Init.CounterMode = TIM_COUNTERMODE_UP;
  htim11.Init.Period = 65535;
  htim11.Init.ClockDivision = TIM_CLOCKDIVISION_DIV1;
  htim11.Init.AutoReloadPreload = TIM_AUTORELOAD_PRELOAD_DISABLE;
  if (HAL_TIM_Base_Init(&htim11) != HAL_OK)
  {
    Error_Handler();
  }

}

static void MX_TIM12_Init(void)
{

  TIM_OC_InitTypeDef sConfigOC = {0};

  htim12.Instance = TIM12;
  htim12.Init.Prescaler = 0;
  htim12.Init.CounterMode = TIM_COUNTERMODE_UP;
  htim12.Init.Period = 65535;
  htim12.Init.ClockDivision = TIM_CLOCKDIVISION_DIV1;
  htim12.Init.AutoReloadPreload = TIM_AUTORELOAD_PRELOAD_DISABLE;
  if (HAL_TIM_OC_Init(&htim12) != HAL_OK)
  {
    Error_Handler();
  }
  sConfigOC.OCMode = TIM_OCMODE_TIMING;
  sConfigOC.Pulse = 0;
  sConfigOC.OCPolarity = TIM_OCPOLARITY_HIGH;
  sConfigOC.OCFastMode = TIM_OCFAST_DISABLE;
  if (HAL_TIM_OC_ConfigChannel(&htim12, &sConfigOC, TIM_CHANNEL_1) != HAL_OK)
  {
    Error_Handler();
  }
  if (HAL_TIM_OC_ConfigChannel(&htim12, &sConfigOC, TIM_CHANNEL_2) != HAL_OK)
  {
    Error_Handler();
  }

}

static void MX_TIM13_Init(void)
{

  TIM_OC_InitTypeDef sConfigOC = {0};

  htim13.Instance = TIM13;
  htim13.Init.Prescaler = 0;
  htim13.Init.CounterMode = TIM_COUNTERMODE_UP;
  htim13.Init.Period = 65535;
  htim13.Init.ClockDivision = TIM_CLOCKDIVISION_DIV1;
  htim13.Init.AutoReloadPreload = TIM_AUTORELOAD_PRELOAD_DISABLE;
  if (HAL_TIM_Base_Init(&htim13) != HAL_OK)
  {
    Error_Handler();
  }
  if (HAL_TIM_OC_Init(&htim13) != HAL_OK)
  {
    Error_Handler();
  }
  sConfigOC.OCMode = TIM_OCMODE_TIMING;
  sConfigOC.Pulse = 0;
  sConfigOC.OCPolarity = TIM_OCPOLARITY_HIGH;
  sConfigOC.OCFastMode = TIM_OCFAST_DISABLE;
  if (HAL_TIM_OC_ConfigChannel(&htim13, &sConfigOC, TIM_CHANNEL_1) != HAL_OK)
  {
    Error_Handler();
  }

}

static void MX_TIM14_Init(void)
{

  htim14.Instance = TIM14;
  htim14.Init.Prescaler = 0;
  htim14.Init.CounterMode = TIM_COUNTERMODE_UP;
  htim14.Init.Period = 65535;
  htim14.Init.ClockDivision = TIM_CLOCKDIVISION_DIV1;
  htim14.Init.AutoReloadPreload = TIM_AUTORELOAD_PRELOAD_ENABLE;
  if (HAL_TIM_Base_Init(&htim14) != HAL_OK)
  {
    Error_Handler();
  }

}

static void MX_USART1_UART_Init(void)
{

  huart1.Instance = USART1;
  huart1.Init.BaudRate = 115200;
  huart1.Init.WordLength = UART_WORDLENGTH_8B;
  huart1.Init.StopBits = UART_STOPBITS_1;
  huart1.Init.Parity = UART_PARITY_NONE;
  huart1.Init.Mode = UART_MODE_TX_RX;
  huart1.Init.HwFlowCtl = UART_HWCONTROL_NONE;
  huart1.Init.OverSampling = UART_OVERSAMPLING_16;
  if (HAL_UART_Init(&huart1) != HAL_OK)
  {
    Error_Handler();
  }
  /* USER CODE BEGIN USART1_Init 2 */
  // 使能空闲中断
  __HAL_UART_ENABLE_IT(&huart1, UART_IT_IDLE);

  // 启动DMA接收
  HAL_UART_Receive_DMA(&huart1, rx_buffer, RX_BUFFER_SIZE);
  /* USER CODE END USART1_Init 2 */

}

static void MX_USART2_UART_Init(void)
{

  huart2.Instance = USART2;
  huart2.Init.BaudRate = 115200;
  huart2.Init.WordLength = UART_WORDLENGTH_8B;
  huart2.Init.StopBits = UART_STOPBITS_1;
  huart2.Init.Parity = UART_PARITY_NONE;
  huart2.Init.Mode = UART_MODE_TX_RX;
  huart2.Init.HwFlowCtl = UART_HWCONTROL_NONE;
  huart2.Init.OverSampling = UART_OVERSAMPLING_16;
  if (HAL_UART_Init(&huart2) != HAL_OK)
  {
    Error_Handler();
  }

}

static void MX_USART3_UART_Init(void)
{

  huart3.Instance = USART3;
  huart3.Init.BaudRate = 115200;
  huart3.Init.WordLength = UART_WORDLENGTH_8B;
  huart3.Init.StopBits = UART_STOPBITS_1;
  huart3.Init.Parity = UART_PARITY_NONE;
  huart3.Init.Mode = UART_MODE_TX_RX;
  huart3.Init.HwFlowCtl = UART_HWCONTROL_NONE;
  huart3.Init.OverSampling = UART_OVERSAMPLING_16;
  if (HAL_UART_Init(&huart3) != HAL_OK)
  {
    Error_Handler();
  }

}

static void MX_DMA_Init(void)
{

  /* DMA controller clock enable */
  __HAL_RCC_DMA1_CLK_ENABLE();
  __HAL_RCC_DMA2_CLK_ENABLE();

  /* DMA interrupt init */
  /* DMA1_Stream5_IRQn interrupt configuration */
  HAL_NVIC_SetPriority(DMA1_Stream5_IRQn, 5, 0);
  HAL_NVIC_EnableIRQ(DMA1_Stream5_IRQn);
  /* DMA2_Stream0_IRQn interrupt configuration */
  HAL_NVIC_SetPriority(DMA2_Stream0_IRQn, 5, 0);
  HAL_NVIC_EnableIRQ(DMA2_Stream0_IRQn);
  /* DMA2_Stream2_IRQn interrupt configuration */
  HAL_NVIC_SetPriority(DMA2_Stream2_IRQn, 5, 0);
  HAL_NVIC_EnableIRQ(DMA2_Stream2_IRQn);
  /* DMA2_Stream5_IRQn interrupt configuration */
  HAL_NVIC_SetPriority(DMA2_Stream5_IRQn, 5, 0);
  HAL_NVIC_EnableIRQ(DMA2_Stream5_IRQn);
  /* DMA2_Stream7_IRQn interrupt configuration */
  HAL_NVIC_SetPriority(DMA2_Stream7_IRQn, 5, 0);
  HAL_NVIC_EnableIRQ(DMA2_Stream7_IRQn);

}

static void MX_GPIO_Init(void)
{
  GPIO_InitTypeDef GPIO_InitStruct = {0};

  /* GPIO Ports Clock Enable */
  __HAL_RCC_GPIOE_CLK_ENABLE();
  __HAL_RCC_GPIOC_CLK_ENABLE();
  __HAL_RCC_GPIOH_CLK_ENABLE();
  __HAL_RCC_GPIOA_CLK_ENABLE();
  __HAL_RCC_GPIOB_CLK_ENABLE();
  __HAL_RCC_GPIOD_CLK_ENABLE();

  /*Configure GPIO pin Output Level */
  HAL_GPIO_WritePin(GPIOE, PGA_A2_Pin|PGA_A1_Pin|PGA_A0_Pin|IPGA_CS_Pin
                          |CAP_SW3_Pin|RELAY1_LCR_IR_Pin|RELAY2_LCR_Pin, GPIO_PIN_RESET);

  /*Configure GPIO pin Output Level */
  HAL_GPIO_WritePin(GPIOC, LED1_Pin|PGA_SD_Pin|VPGA_CS_Pin|LED2_Pin
                          |CAP_SW2_Pin|CAP_SW1_Pin|INJ_LSIDE_Pin, GPIO_PIN_RESET);

  /*Configure GPIO pin Output Level */
  HAL_GPIO_WritePin(GPIOB, SPI2_CS_Pin|SW_LOAD2_Pin|SW_LOAD3_Pin|SW_LOAD1_Pin, GPIO_PIN_RESET);

  /*Configure GPIO pin Output Level */
  HAL_GPIO_WritePin(GPIOD, SW_INJ_Pin|INJ_DPOW_SW_Pin, GPIO_PIN_RESET);

  /*Configure GPIO pin Output Level */
  HAL_GPIO_WritePin(RS485_EN_GPIO_Port, RS485_EN_Pin, GPIO_PIN_RESET);

  /*Configure GPIO pins : PGA_A2_Pin PGA_A1_Pin PGA_A0_Pin IPGA_CS_Pin
                           CAP_SW3_Pin RELAY1_LCR_IR_Pin RELAY2_LCR_Pin */
  GPIO_InitStruct.Pin = PGA_A2_Pin|PGA_A1_Pin|PGA_A0_Pin|IPGA_CS_Pin
                          |CAP_SW3_Pin|RELAY1_LCR_IR_Pin|RELAY2_LCR_Pin;
  GPIO_InitStruct.Mode = GPIO_MODE_OUTPUT_PP;
  GPIO_InitStruct.Pull = GPIO_NOPULL;
  GPIO_InitStruct.Speed = GPIO_SPEED_FREQ_LOW;
  HAL_GPIO_Init(GPIOE, &GPIO_InitStruct);

  /*Configure GPIO pins : LED1_Pin PGA_SD_Pin VPGA_CS_Pin LED2_Pin
                           CAP_SW2_Pin CAP_SW1_Pin INJ_LSIDE_Pin */
  GPIO_InitStruct.Pin = LED1_Pin|PGA_SD_Pin|VPGA_CS_Pin|LED2_Pin
                          |CAP_SW2_Pin|CAP_SW1_Pin|INJ_LSIDE_Pin;
  GPIO_InitStruct.Mode = GPIO_MODE_OUTPUT_PP;
  GPIO_InitStruct.Pull = GPIO_NOPULL;
  GPIO_InitStruct.Speed = GPIO_SPEED_FREQ_LOW;
  HAL_GPIO_Init(GPIOC, &GPIO_InitStruct);

  /*Configure GPIO pins : SPI2_CS_Pin SW_LOAD2_Pin SW_LOAD3_Pin SW_LOAD1_Pin */
  GPIO_InitStruct.Pin = SPI2_CS_Pin|SW_LOAD2_Pin|SW_LOAD3_Pin|SW_LOAD1_Pin;
  GPIO_InitStruct.Mode = GPIO_MODE_OUTPUT_PP;
  GPIO_InitStruct.Pull = GPIO_NOPULL;
  GPIO_InitStruct.Speed = GPIO_SPEED_FREQ_LOW;
  HAL_GPIO_Init(GPIOB, &GPIO_InitStruct);

  /*Configure GPIO pins : SW_INJ_Pin INJ_DPOW_SW_Pin */
  GPIO_InitStruct.Pin = SW_INJ_Pin|INJ_DPOW_SW_Pin;
  GPIO_InitStruct.Mode = GPIO_MODE_OUTPUT_PP;
  GPIO_InitStruct.Pull = GPIO_NOPULL;
  GPIO_InitStruct.Speed = GPIO_SPEED_FREQ_LOW;
  HAL_GPIO_Init(GPIOD, &GPIO_InitStruct);

  /*Configure GPIO pin : INJ_EN_Pin */
  GPIO_InitStruct.Pin = INJ_EN_Pin;
  GPIO_InitStruct.Mode = GPIO_MODE_IT_RISING;
  GPIO_InitStruct.Pull = GPIO_NOPULL;
  HAL_GPIO_Init(INJ_EN_GPIO_Port, &GPIO_InitStruct);

  /*Configure GPIO pin : OVER_CUR_Pin */
  GPIO_InitStruct.Pin = OVER_CUR_Pin;
  GPIO_InitStruct.Mode = GPIO_MODE_IT_RISING;
  GPIO_InitStruct.Pull = GPIO_NOPULL;
  HAL_GPIO_Init(OVER_CUR_GPIO_Port, &GPIO_InitStruct);

  /*Configure GPIO pin : RS485_EN_Pin */
  GPIO_InitStruct.Pin = RS485_EN_Pin;
  GPIO_InitStruct.Mode = GPIO_MODE_OUTPUT_PP;
  GPIO_InitStruct.Pull = GPIO_NOPULL;
  GPIO_InitStruct.Speed = GPIO_SPEED_FREQ_LOW;
  HAL_GPIO_Init(RS485_EN_GPIO_Port, &GPIO_InitStruct);

  /*Configure GPIO pin : RELAY3_IR_Pin */
  GPIO_InitStruct.Pin = RELAY3_IR_Pin;
  GPIO_InitStruct.Mode = GPIO_MODE_INPUT;
  GPIO_InitStruct.Pull = GPIO_NOPULL;
  HAL_GPIO_Init(RELAY3_IR_GPIO_Port, &GPIO_InitStruct);

/* USER CODE BEGIN MX_GPIO_Init_2 */
  // RS485 方向控制引脚初始化
  GPIO_InitStruct.Pin = RS485_DIR_Pin;
  GPIO_InitStruct.Mode = GPIO_MODE_OUTPUT_PP;
  GPIO_InitStruct.Pull = GPIO_NOPULL;
  GPIO_InitStruct.Speed = GPIO_SPEED_FREQ_LOW;
  HAL_GPIO_Init(RS485_DIR_GPIO_Port, &GPIO_InitStruct);

  // 默认设置为接收模式
  HAL_GPIO_WritePin(RS485_DIR_GPIO_Port, RS485_DIR_Pin, GPIO_PIN_RESET);
/* USER CODE END MX_GPIO_Init_2 */
}

void StartDefaultTask(void *argument)
{
  for(;;)
  {
    osDelay(1);
  }
}

void HAL_TIM_PeriodElapsedCallback(TIM_HandleTypeDef *htim)
{
  if (htim->Instance == TIM4) {
    HAL_IncTick();
  }
  /* USER CODE BEGIN Callback 1 */
	HAL_TIM14_Callback(htim);
  /* USER CODE END Callback 1 */
}

void Error_Handler(void)
{
  __disable_irq();
  while (1)
  {
  }
}
